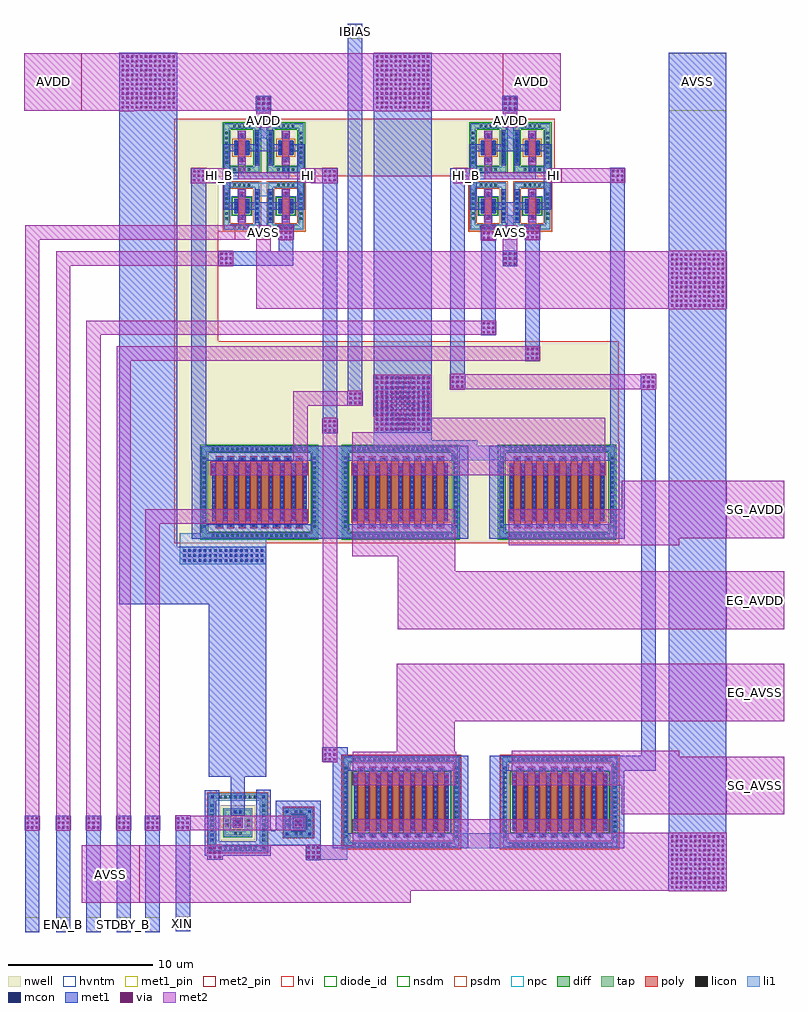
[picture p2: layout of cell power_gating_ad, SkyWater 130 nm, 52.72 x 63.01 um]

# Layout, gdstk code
import gdstk
lib = gdstk.Library(unit=1e-6, precision=1e-09)
def R(c, l, rs):  # rectangles x0, y0, x1, y1
    for r in rs: c.add(gdstk.rectangle(r[:2], r[2:], *l))
def A(c, l, x, y, w, h, nx, ny, dx, dy):  # array of equal rectangles
    R(c, l, [(x+i*dx, y+j*dy, x+i*dx+w, y+j*dy+h) for i in range(nx) for j in range(ny)])
nwell = (64, 20)
diff = (65, 20)
tap = (65, 44)
poly = (66, 20)
licon = (66, 44)
li1 = (67, 20)
mcon = (67, 44)
met1_pin = (68, 16)
met1 = (68, 20)
via = (68, 44)
met2_pin = (69, 16)
met2 = (69, 20)
hvi = (75, 20)
diode_id = (81, 23)
nsdm = (93, 44)
psdm = (94, 20)
npc = (95, 20)
hvntm = (125, 20)

power_gating_ad = lib.new_cell('power_gating_ad')
R(power_gating_ad, nwell, [(5.65,-36.95,8.08,-34.52), (2.45,-16.35,33.31,-9.3), (4.05,-16.3,12.66,-9.33), (13.85,-16.3,22.46,-9.33), (24.7,-16.3,33.31,-9.33), (2.45,-9.3,33.3,-2.35), (2.45,-2.35,5.5,9.08), (2.45,9.08,5.75,9.15), (5.6,9.1,8.68,13.07), (8.65,9.1,11.73,13.07), (11.7,9.1,22.7,13.05), (22.7,9.1,25.78,13.07), (25.75,9.1,28.83,13.07), (28.8,9.1,28.85,13.05), (2.45,9.15,5.6,13.05), (2.45,13.05,28.85,13.1)])
R(power_gating_ad, diff, [(14.9,-36.31,21.51,-32.31), (25.9,-36.31,32.51,-32.31), (6.64,-35.96,7.09,-35.51), (10.835,-35.96,11.285,-35.51), (5.05,-14.815,11.66,-10.815), (14.85,-14.815,21.46,-10.815), (25.7,-14.815,32.31,-10.815), (6.6,6.54,7.68,7.54), (9.65,6.54,10.73,7.54), (23.7,6.54,24.78,7.54), (26.75,6.54,27.83,7.54), (6.6,10.585,7.68,11.585), (9.65,10.585,10.73,11.585), (23.7,10.585,24.78,11.585), (26.75,10.585,27.83,11.585)])
R(power_gating_ad, tap, [(4.93,-37.67,8.8,-37.38), (14.23,-37.42,22.18,-37.13), (25.23,-37.42,33.18,-37.13), (4.93,-37.38,5.22,-34.09), (8.51,-37.38,8.8,-34.09), (14.23,-37.13,14.52,-31.49), (21.89,-37.13,22.18,-31.49), (25.23,-37.13,25.52,-31.49), (32.89,-37.13,33.18,-31.49), (10.155,-36.64,11.965,-36.35), (5.98,-36.62,7.75,-36.33), (10.155,-36.35,10.445,-35.12), (11.675,-36.35,11.965,-35.12), (5.98,-36.33,6.27,-35.14), (7.46,-36.33,7.75,-35.14), (5.98,-35.14,7.75,-34.85), (10.155,-35.12,11.965,-34.83), (4.93,-34.09,8.8,-33.8), (14.23,-31.49,22.18,-31.2), (25.23,-31.49,33.18,-31.2), (4.38,-15.97,12.33,-15.68), (14.18,-15.97,22.13,-15.68), (25.03,-15.97,32.98,-15.68), (4.38,-15.68,4.67,-9.95), (12.04,-15.68,12.33,-9.95), (14.18,-15.68,14.47,-9.95), (21.84,-15.68,22.13,-9.95), (25.03,-15.68,25.32,-9.95), (32.69,-15.68,32.98,-9.95), (4.38,-9.95,12.33,-9.66), (14.18,-9.95,22.13,-9.66), (25.03,-9.95,32.98,-9.66), (5.93,5.43,8.35,5.72), (8.98,5.43,11.4,5.72), (23.03,5.43,25.45,5.72), (26.08,5.43,28.5,5.72), (5.93,5.72,6.22,8.36), (8.06,5.72,8.35,8.36), (8.98,5.72,9.27,8.36), (11.11,5.72,11.4,8.36), (23.03,5.72,23.32,8.36), (25.16,5.72,25.45,8.36), (26.08,5.72,26.37,8.36), (28.21,5.72,28.5,8.36), (5.93,8.36,8.35,8.65), (8.98,8.36,11.4,8.65), (23.03,8.36,25.45,8.65), (26.08,8.36,28.5,8.65), (5.93,9.43,8.35,9.72), (8.98,9.43,11.4,9.72), (23.03,9.43,25.45,9.72), (26.08,9.43,28.5,9.72), (5.93,9.72,6.22,12.45), (8.06,9.72,8.35,12.45), (8.98,9.72,9.27,12.45), (11.11,9.72,11.4,12.45), (23.03,9.72,23.32,12.45), (25.16,9.72,25.45,12.45), (26.08,9.72,26.37,12.45), (28.21,9.72,28.5,12.45), (5.93,12.45,8.35,12.74), (8.98,12.45,11.4,12.74), (23.03,12.45,25.45,12.74), (26.08,12.45,28.5,12.74)])
A(power_gating_ad, poly, 15.19, -36.75, 0.5, 4.88, 8, 1, 0.79, 0)
A(power_gating_ad, poly, 26.19, -36.75, 0.5, 4.88, 8, 1, 0.79, 0)
A(power_gating_ad, poly, 5.34, -15.3, 0.5, 4.97, 8, 1, 0.79, 0)
A(power_gating_ad, poly, 15.14, -15.3, 0.5, 4.97, 8, 1, 0.79, 0)
A(power_gating_ad, poly, 25.99, -15.3, 0.5, 4.97, 8, 1, 0.79, 0)
R(power_gating_ad, poly, [(6.89,6.1,7.39,7.98), (9.94,6.1,10.44,7.98), (23.99,6.1,24.49,7.98), (27.04,6.1,27.54,7.98), (6.89,10.1,7.39,12.07), (9.94,10.1,10.44,12.07), (23.99,10.1,24.49,12.07), (27.04,10.1,27.54,12.07)])
A(power_gating_ad, licon, 5.59, -37.61, 0.17, 0.17, 8, 2, 0.34, 3.58)
A(power_gating_ad, licon, 14.89, -37.36, 0.17, 0.17, 20, 2, 0.34, 5.93)
A(power_gating_ad, licon, 25.89, -37.36, 0.17, 0.17, 20, 2, 0.34, 5.93)
A(power_gating_ad, licon, 4.99, -37.01, 0.17, 0.17, 1, 8, 0, 0.34)
A(power_gating_ad, licon, 8.57, -37.01, 0.17, 0.17, 1, 8, 0, 0.34)
A(power_gating_ad, licon, 14.29, -36.775, 0.17, 0.17, 1, 15, 0, 0.34)
A(power_gating_ad, licon, 21.95, -36.775, 0.17, 0.17, 1, 15, 0, 0.34)
A(power_gating_ad, licon, 25.29, -36.775, 0.17, 0.17, 1, 15, 0, 0.34)
A(power_gating_ad, licon, 32.95, -36.775, 0.17, 0.17, 1, 15, 0, 0.34)
A(power_gating_ad, licon, 15.355, -36.67, 0.17, 0.17, 8, 2, 0.79, 4.55)
A(power_gating_ad, licon, 26.355, -36.67, 0.17, 0.17, 8, 2, 0.79, 4.55)
A(power_gating_ad, licon, 14.96, -36.095, 0.17, 0.17, 9, 11, 0.79, 0.34)
A(power_gating_ad, licon, 25.96, -36.095, 0.17, 0.17, 9, 11, 0.79, 0.34)
A(power_gating_ad, licon, 5.04, -15.91, 0.17, 0.17, 20, 2, 0.34, 6.02)
A(power_gating_ad, licon, 14.84, -15.91, 0.17, 0.17, 20, 2, 0.34, 6.02)
A(power_gating_ad, licon, 25.69, -15.91, 0.17, 0.17, 20, 2, 0.34, 6.02)
A(power_gating_ad, licon, 4.44, -15.28, 0.17, 0.17, 1, 15, 0, 0.34)
A(power_gating_ad, licon, 12.1, -15.28, 0.17, 0.17, 1, 15, 0, 0.34)
A(power_gating_ad, licon, 14.24, -15.28, 0.17, 0.17, 1, 15, 0, 0.34)
A(power_gating_ad, licon, 21.9, -15.28, 0.17, 0.17, 1, 15, 0, 0.34)
A(power_gating_ad, licon, 25.09, -15.28, 0.17, 0.17, 1, 15, 0, 0.34)
A(power_gating_ad, licon, 32.75, -15.28, 0.17, 0.17, 1, 15, 0, 0.34)
A(power_gating_ad, licon, 5.505, -15.22, 0.17, 0.17, 8, 2, 0.79, 4.64)
A(power_gating_ad, licon, 15.305, -15.22, 0.17, 0.17, 8, 2, 0.79, 4.64)
A(power_gating_ad, licon, 26.155, -15.22, 0.17, 0.17, 8, 2, 0.79, 4.64)
A(power_gating_ad, licon, 5.11, -14.6, 0.17, 0.17, 9, 11, 0.79, 0.34)
A(power_gating_ad, licon, 14.91, -14.6, 0.17, 0.17, 9, 11, 0.79, 0.34)
A(power_gating_ad, licon, 25.76, -14.6, 0.17, 0.17, 9, 11, 0.79, 0.34)
A(power_gating_ad, licon, 6.545, 5.49, 0.17, 0.17, 4, 2, 0.34, 2.93)
A(power_gating_ad, licon, 9.595, 5.49, 0.17, 0.17, 4, 2, 0.34, 2.93)
A(power_gating_ad, licon, 23.645, 5.49, 0.17, 0.17, 4, 2, 0.34, 2.93)
A(power_gating_ad, licon, 26.695, 5.49, 0.17, 0.17, 4, 2, 0.34, 2.93)
A(power_gating_ad, licon, 5.99, 6.105, 0.17, 0.17, 1, 6, 0, 0.34)
A(power_gating_ad, licon, 8.12, 6.105, 0.17, 0.17, 1, 6, 0, 0.34)
A(power_gating_ad, licon, 9.04, 6.105, 0.17, 0.17, 1, 6, 0, 0.34)
A(power_gating_ad, licon, 11.17, 6.105, 0.17, 0.17, 1, 6, 0, 0.34)
A(power_gating_ad, licon, 23.09, 6.105, 0.17, 0.17, 1, 6, 0, 0.34)
A(power_gating_ad, licon, 25.22, 6.105, 0.17, 0.17, 1, 6, 0, 0.34)
A(power_gating_ad, licon, 26.14, 6.105, 0.17, 0.17, 1, 6, 0, 0.34)
A(power_gating_ad, licon, 28.27, 6.105, 0.17, 0.17, 1, 6, 0, 0.34)
A(power_gating_ad, licon, 6.66, 6.615, 0.17, 0.17, 1, 3, 0, 0.34)
A(power_gating_ad, licon, 7.45, 6.615, 0.17, 0.17, 1, 3, 0, 0.34)
A(power_gating_ad, licon, 9.71, 6.615, 0.17, 0.17, 1, 3, 0, 0.34)
A(power_gating_ad, licon, 10.5, 6.615, 0.17, 0.17, 1, 3, 0, 0.34)
A(power_gating_ad, licon, 23.76, 6.615, 0.17, 0.17, 1, 3, 0, 0.34)
A(power_gating_ad, licon, 24.55, 6.615, 0.17, 0.17, 1, 3, 0, 0.34)
A(power_gating_ad, licon, 26.81, 6.615, 0.17, 0.17, 1, 3, 0, 0.34)
A(power_gating_ad, licon, 27.6, 6.615, 0.17, 0.17, 1, 3, 0, 0.34)
A(power_gating_ad, licon, 6.545, 9.49, 0.17, 0.17, 4, 2, 0.34, 3.02)
A(power_gating_ad, licon, 9.595, 9.49, 0.17, 0.17, 4, 2, 0.34, 3.02)
A(power_gating_ad, licon, 23.645, 9.49, 0.17, 0.17, 4, 2, 0.34, 3.02)
A(power_gating_ad, licon, 26.695, 9.49, 0.17, 0.17, 4, 2, 0.34, 3.02)
A(power_gating_ad, licon, 5.99, 9.98, 0.17, 0.17, 1, 7, 0, 0.34)
A(power_gating_ad, licon, 8.12, 9.98, 0.17, 0.17, 1, 7, 0, 0.34)
A(power_gating_ad, licon, 9.04, 9.98, 0.17, 0.17, 1, 7, 0, 0.34)
A(power_gating_ad, licon, 11.17, 9.98, 0.17, 0.17, 1, 7, 0, 0.34)
A(power_gating_ad, licon, 23.09, 9.98, 0.17, 0.17, 1, 7, 0, 0.34)
A(power_gating_ad, licon, 25.22, 9.98, 0.17, 0.17, 1, 7, 0, 0.34)
A(power_gating_ad, licon, 26.14, 9.98, 0.17, 0.17, 1, 7, 0, 0.34)
A(power_gating_ad, licon, 28.27, 9.98, 0.17, 0.17, 1, 7, 0, 0.34)
A(power_gating_ad, licon, 6.66, 10.66, 0.17, 0.17, 1, 3, 0, 0.34)
A(power_gating_ad, licon, 7.45, 10.66, 0.17, 0.17, 1, 3, 0, 0.34)
A(power_gating_ad, licon, 9.71, 10.66, 0.17, 0.17, 1, 3, 0, 0.34)
A(power_gating_ad, licon, 10.5, 10.66, 0.17, 0.17, 1, 3, 0, 0.34)
A(power_gating_ad, licon, 23.76, 10.66, 0.17, 0.17, 1, 3, 0, 0.34)
A(power_gating_ad, licon, 24.55, 10.66, 0.17, 0.17, 1, 3, 0, 0.34)
A(power_gating_ad, licon, 26.81, 10.66, 0.17, 0.17, 1, 3, 0, 0.34)
A(power_gating_ad, licon, 27.6, 10.66, 0.17, 0.17, 1, 3, 0, 0.34)
R(power_gating_ad, licon, [(10.805,-36.58,10.975,-36.41), (11.145,-36.58,11.315,-36.41), (6.61,-36.56,6.78,-36.39), (6.95,-36.56,7.12,-36.39), (6.04,-35.99,6.21,-35.82), (7.52,-35.99,7.69,-35.82), (10.215,-35.99,10.385,-35.82), (11.735,-35.99,11.905,-35.82), (6.78,-35.82,6.95,-35.65), (10.975,-35.82,11.145,-35.65), (6.04,-35.65,6.21,-35.48), (7.52,-35.65,7.69,-35.48), (10.215,-35.65,10.385,-35.48), (11.735,-35.65,11.905,-35.48), (6.61,-35.08,6.78,-34.91), (6.95,-35.08,7.12,-34.91), (10.805,-35.06,10.975,-34.89), (11.145,-35.06,11.315,-34.89), (7.055,6.18,7.225,6.35), (10.105,6.18,10.275,6.35), (24.155,6.18,24.325,6.35), (27.205,6.18,27.375,6.35), (7.055,7.73,7.225,7.9), (10.105,7.73,10.275,7.9), (24.155,7.73,24.325,7.9), (27.205,7.73,27.375,7.9), (7.055,10.18,7.225,10.35), (10.105,10.18,10.275,10.35), (24.155,10.18,24.325,10.35), (27.205,10.18,27.375,10.35), (7.055,11.82,7.225,11.99), (10.105,11.82,10.275,11.99), (24.155,11.82,24.325,11.99), (27.205,11.82,27.375,11.99)])
A(power_gating_ad, li1, 15.19, -36.67, 0.5, 0.17, 8, 2, 0.79, 4.55)
A(power_gating_ad, li1, 26.19, -36.67, 0.5, 0.17, 8, 2, 0.79, 4.55)
A(power_gating_ad, li1, 14.96, -36.33, 0.17, 4.04, 9, 1, 0.79, 0)
A(power_gating_ad, li1, 25.96, -36.33, 0.17, 4.04, 9, 1, 0.79, 0)
A(power_gating_ad, li1, 5.34, -15.22, 0.5, 0.17, 8, 2, 0.79, 4.64)
A(power_gating_ad, li1, 15.14, -15.22, 0.5, 0.17, 8, 2, 0.79, 4.64)
A(power_gating_ad, li1, 25.99, -15.22, 0.5, 0.17, 8, 2, 0.79, 4.64)
A(power_gating_ad, li1, 5.11, -14.835, 0.17, 4.04, 9, 1, 0.79, 0)
A(power_gating_ad, li1, 14.91, -14.835, 0.17, 4.04, 9, 1, 0.79, 0)
A(power_gating_ad, li1, 25.76, -14.835, 0.17, 4.04, 9, 1, 0.79, 0)
R(power_gating_ad, li1, [(11.6,-38.3,14.45,-37.46), (4.825,-37.775,8.905,-37.25), (4.99,-37.61,8.74,-37.44), (21.96,-37.5,25.46,-37.46), (11.6,-37.46,33.19,-37.43), (4.99,-37.44,5.16,-34.03), (8.57,-37.44,8.74,-34.03), (11.6,-37.43,33.22,-37.3), (14.29,-37.36,22.12,-37.19), (25.29,-37.36,33.12,-37.19), (14.19,-37.3,33.22,-37.09), (4.825,-37.25,5.35,-34.2), (8.4,-37.25,8.905,-34.2), (14.29,-37.19,14.46,-31.43), (21.95,-37.19,22.12,-31.43), (25.29,-37.19,25.46,-31.43), (32.95,-37.19,33.12,-31.43), (14.19,-37.09,14.56,-31.53), (21.85,-37.09,25.56,-36.475), (32.85,-37.09,33.22,-31.53), (10.05,-36.745,12.07,-36.245), (5.875,-36.725,7.855,-36.225), (10.215,-36.58,11.905,-36.41), (6.04,-36.56,7.69,-36.39), (21.85,-36.475,22.22,-31.53), (25.19,-36.475,25.56,-31.53), (10.215,-36.41,10.385,-35.06), (11.735,-36.41,11.905,-35.06), (6.04,-36.39,6.21,-35.08), (7.52,-36.39,7.69,-35.08), (10.05,-36.245,10.56,-35.225), (11.57,-36.245,12.07,-35.225), (5.875,-36.225,6.375,-35.245), (7.355,-36.225,7.855,-35.245), (6.62,-35.9,7.11,-35.57), (10.815,-35.9,11.305,-35.57), (5.875,-35.245,7.855,-34.745), (10.05,-35.225,12.07,-34.725), (6.04,-35.08,7.69,-34.91), (10.215,-35.06,11.905,-34.89), (4.825,-34.2,8.905,-33.695), (4.99,-34.03,8.74,-33.86), (14.19,-31.53,22.22,-31.19), (25.19,-31.53,33.22,-31.19), (14.29,-31.43,22.12,-31.26), (25.29,-31.43,33.12,-31.26), (14.22,-31.19,22.19,-31.16), (25.22,-31.19,33.19,-31.16), (2.85,-17.8,8.85,-16.01), (2.85,-16.01,12.34,-16), (14.17,-16.01,22.14,-16), (25.02,-16.01,32.99,-15.98), (2.85,-16,22.14,-15.98), (2.85,-15.98,22.17,-15.65), (24.99,-15.98,33.02,-15.64), (4.44,-15.91,12.27,-15.74), (14.24,-15.91,22.07,-15.74), (25.09,-15.91,32.92,-15.74), (4.44,-15.74,4.61,-9.89), (12.1,-15.74,12.27,-9.89), (14.24,-15.74,14.41,-9.89), (21.9,-15.74,22.07,-9.89), (25.09,-15.74,25.26,-9.89), (32.75,-15.74,32.92,-9.89), (4.34,-15.65,22.17,-15.64), (4.34,-15.64,4.71,-9.99), (12,-15.64,14.51,-9.99), (21.8,-15.64,22.17,-10.6), (24.99,-15.64,25.36,-10.6), (32.65,-15.64,33.02,-9.99), (21.8,-10.6,25.36,-9.99), (4.34,-9.99,33.02,-9.65), (4.44,-9.89,12.27,-9.72), (14.24,-9.89,22.07,-9.72), (25.09,-9.89,32.92,-9.72), (4.37,-9.65,32.99,-9.62), (12.05,-9.62,14.41,-9.6), (15.8,-9.62,25.2,-9.6), (16.3,-9.6,23.46,-9.2), (16.3,-9.2,20.3,-8.4), (16.3,-8.4,20.27,-7.65), (16.33,-7.65,20.27,-4.68), (25.25,2.9,26.25,5.39), (5.92,5.39,8.36,5.42), (5.92,5.39,8.36,5.42), (8.97,5.39,11.41,5.42), (8.97,5.39,11.41,5.42), (23.02,5.39,25.46,5.42), (23.02,5.39,28.51,5.42), (26.07,5.39,28.51,5.42), (5.89,5.42,8.39,5.76), (5.89,5.42,8.39,5.76), (8.94,5.42,11.44,5.76), (8.94,5.42,11.44,5.76), (22.99,5.42,28.54,5.76), (22.99,5.42,25.49,5.76), (26.04,5.42,28.54,5.76), (5.99,5.49,8.29,5.66), (9.04,5.49,11.34,5.66), (23.09,5.49,25.39,5.66), (26.14,5.49,28.44,5.66), (5.99,5.66,6.16,8.42), (8.12,5.66,8.29,8.42), (9.04,5.66,9.21,8.42), (11.17,5.66,11.34,8.42), (23.09,5.66,23.26,8.42), (25.22,5.66,25.39,8.42), (26.14,5.66,26.31,8.42), (28.27,5.66,28.44,8.42), (5.89,5.76,6.26,8.32), (5.89,5.76,6.26,8.32), (8.02,5.76,8.39,8.32), (8.02,5.76,8.39,7.73), (8.94,5.76,9.31,8.32), (8.94,5.76,9.31,7.73), (11.07,5.76,11.44,8.32), (11.07,5.76,11.44,8.32), (22.99,5.76,23.36,8.32), (22.99,5.76,23.36,8.32), (25.12,5.76,25.49,8.32), (25.12,5.76,26.41,6.4), (26.04,5.76,26.41,8.32), (28.17,5.76,28.54,8.32), (28.17,5.76,28.54,8.32), (6.89,6.18,7.39,6.35), (9.94,6.18,10.44,6.35), (23.99,6.18,24.49,6.35), (27.04,6.18,27.54,6.35), (25.12,6.4,25.49,8.32), (26.04,6.4,26.41,8.32), (6.66,6.52,6.83,7.56), (7.45,6.52,7.62,7.56), (9.71,6.52,9.88,7.56), (10.5,6.52,10.67,7.56), (23.76,6.52,23.93,7.56), (24.55,6.52,24.72,7.56), (26.81,6.52,26.98,7.56), (27.6,6.52,27.77,7.56), (6.89,7.73,7.39,7.9), (8.02,7.73,9.31,8.32), (9.94,7.73,10.44,7.9), (23.99,7.73,24.49,7.9), (27.04,7.73,27.54,7.9), (5.89,8.32,11.44,8.66), (5.89,8.32,8.39,8.66), (8.94,8.32,11.44,8.66), (22.99,8.32,25.49,8.66), (22.99,8.32,25.49,8.66), (26.04,8.32,28.54,8.66), (26.04,8.32,28.54,8.66), (5.99,8.42,8.29,8.59), (9.04,8.42,11.34,8.59), (23.09,8.42,25.39,8.59), (26.14,8.42,28.44,8.59), (5.92,8.66,8.36,8.69), (5.92,8.66,11.41,8.67), (8.97,8.66,11.41,8.69), (23.02,8.66,25.46,8.69), (23.02,8.66,25.46,8.69), (26.07,8.66,28.51,8.69), (26.07,8.66,28.51,8.69), (5.92,8.67,8.36,8.69), (8.97,8.67,11.41,8.69), (5.92,9.39,8.36,9.42), (5.92,9.39,8.36,9.42), (8.97,9.39,11.41,9.42), (8.97,9.39,11.41,9.42), (23.02,9.39,25.46,9.42), (23.02,9.39,25.46,9.42), (26.07,9.39,28.51,9.42), (26.07,9.39,28.51,9.42), (5.89,9.42,8.39,9.76), (5.89,9.42,8.39,9.76), (8.94,9.42,11.44,9.76), (8.94,9.42,11.44,9.76), (22.99,9.42,25.49,9.76), (22.99,9.42,25.49,9.76), (26.04,9.42,28.54,9.76), (26.04,9.42,28.54,9.76), (5.99,9.49,8.29,9.66), (9.04,9.49,11.34,9.66), (23.09,9.49,25.39,9.66), (26.14,9.49,28.44,9.66), (5.99,9.66,6.16,12.51), (8.12,9.66,8.29,12.51), (9.04,9.66,9.21,12.51), (11.17,9.66,11.34,12.51), (23.09,9.66,23.26,12.51), (25.22,9.66,25.39,12.51), (26.14,9.66,26.31,12.51), (28.27,9.66,28.44,12.51), (5.89,9.76,6.26,12.41), (5.89,9.76,6.26,12.41), (8.02,9.76,8.39,11.75), (8.02,9.76,8.39,12.41), (8.94,9.76,9.31,11.75), (8.94,9.76,9.31,12.41), (11.07,9.76,11.44,12.41), (11.07,9.76,11.44,12.41), (22.99,9.76,23.36,12.41), (22.99,9.76,23.36,12.41), (25.12,9.76,25.49,11.75), (25.12,9.76,25.49,12.41), (26.04,9.76,26.41,11.75), (26.04,9.76,26.41,12.41), (28.17,9.76,28.54,12.41), (28.17,9.76,28.54,12.41), (6.89,10.18,7.39,10.35), (9.94,10.18,10.44,10.35), (23.99,10.18,24.49,10.35), (27.04,10.18,27.54,10.35), (6.66,10.565,6.83,11.605), (7.45,10.565,7.62,11.605), (9.71,10.565,9.88,11.605), (10.5,10.565,10.67,11.605), (23.76,10.565,23.93,11.605), (24.55,10.565,24.72,11.605), (26.81,10.565,26.98,11.605), (27.6,10.565,27.77,11.605), (8.02,11.75,9.31,12.41), (25.12,11.75,26.41,12.41), (6.89,11.82,7.39,11.99), (9.94,11.82,10.44,11.99), (23.99,11.82,24.49,11.99), (27.04,11.82,27.54,11.99), (5.89,12.41,11.44,12.75), (5.89,12.41,8.39,12.75), (8.94,12.41,11.44,12.75), (22.99,12.41,28.54,12.75), (22.99,12.41,25.49,12.75), (26.04,12.41,28.54,12.75), (5.99,12.51,8.29,12.68), (9.04,12.51,11.34,12.68), (23.09,12.51,25.39,12.68), (26.14,12.51,28.44,12.68), (5.92,12.75,8.36,12.78), (5.92,12.75,11.41,12.78), (8.97,12.75,11.41,12.78), (23.02,12.75,25.46,12.78), (23.02,12.75,28.51,12.78), (26.07,12.75,28.51,12.78), (8.15,12.78,9.15,14.65), (25.25,12.78,26.25,14.65)])
A(power_gating_ad, mcon, 11.655, -38.245, 0.17, 0.17, 3, 3, 0.36, 0.36)
A(power_gating_ad, mcon, 15.355, -36.67, 0.17, 0.17, 8, 2, 0.79, 4.55)
A(power_gating_ad, mcon, 26.355, -36.67, 0.17, 0.17, 8, 2, 0.79, 4.55)
A(power_gating_ad, mcon, 14.96, -36.195, 0.17, 0.17, 9, 11, 0.79, 0.36)
A(power_gating_ad, mcon, 25.96, -36.195, 0.17, 0.17, 9, 11, 0.79, 0.36)
A(power_gating_ad, mcon, 3.065, -17.645, 0.17, 0.17, 16, 3, 0.36, 0.36)
A(power_gating_ad, mcon, 5.505, -15.22, 0.17, 0.17, 8, 2, 0.79, 4.64)
A(power_gating_ad, mcon, 15.305, -15.22, 0.17, 0.17, 8, 2, 0.79, 4.64)
A(power_gating_ad, mcon, 26.155, -15.22, 0.17, 0.17, 8, 2, 0.79, 4.64)
A(power_gating_ad, mcon, 5.11, -14.7, 0.17, 0.17, 9, 11, 0.79, 0.36)
A(power_gating_ad, mcon, 14.91, -14.7, 0.17, 0.17, 9, 11, 0.79, 0.36)
A(power_gating_ad, mcon, 25.76, -14.7, 0.17, 0.17, 9, 11, 0.79, 0.36)
A(power_gating_ad, mcon, 16.415, -8.535, 0.17, 0.17, 11, 11, 0.36, 0.36)
A(power_gating_ad, mcon, 25.305, 2.955, 0.17, 0.17, 3, 3, 0.36, 0.36)
A(power_gating_ad, mcon, 8.12, 6.055, 0.17, 0.17, 1, 6, 0, 0.36)
A(power_gating_ad, mcon, 9.04, 6.055, 0.17, 0.17, 1, 6, 0, 0.36)
A(power_gating_ad, mcon, 25.22, 6.055, 0.17, 0.17, 1, 6, 0, 0.36)
A(power_gating_ad, mcon, 26.14, 6.055, 0.17, 0.17, 1, 6, 0, 0.36)
A(power_gating_ad, mcon, 8.12, 10.1, 0.17, 0.17, 1, 6, 0, 0.36)
A(power_gating_ad, mcon, 9.04, 10.1, 0.17, 0.17, 1, 6, 0, 0.36)
A(power_gating_ad, mcon, 25.22, 10.1, 0.17, 0.17, 1, 6, 0, 0.36)
A(power_gating_ad, mcon, 26.14, 10.1, 0.17, 0.17, 1, 6, 0, 0.36)
A(power_gating_ad, mcon, 8.205, 13.705, 0.17, 0.17, 3, 3, 0.36, 0.36)
A(power_gating_ad, mcon, 25.305, 13.705, 0.17, 0.17, 3, 3, 0.36, 0.36)
R(power_gating_ad, mcon, [(5.015,-37.585,5.185,-37.415), (8.565,-37.585,8.735,-37.415), (10.19,-36.61,10.36,-36.44), (11.74,-36.61,11.91,-36.44), (6.78,-35.82,6.95,-35.65), (10.975,-35.82,11.145,-35.65), (6.585,-35.06,6.755,-34.89), (6.945,-35.06,7.115,-34.89), (10.19,-35.06,10.36,-34.89), (11.74,-35.06,11.91,-34.89), (5.015,-34.035,5.185,-33.865), (8.565,-34.035,8.735,-33.865), (7.055,6.18,7.225,6.35), (10.105,6.18,10.275,6.35), (24.155,6.18,24.325,6.35), (27.205,6.18,27.375,6.35), (6.66,6.775,6.83,6.945), (7.45,6.775,7.62,6.945), (9.71,6.775,9.88,6.945), (10.5,6.775,10.67,6.945), (23.76,6.775,23.93,6.945), (24.55,6.775,24.72,6.945), (26.81,6.775,26.98,6.945), (27.6,6.775,27.77,6.945), (6.66,7.135,6.83,7.305), (7.45,7.135,7.62,7.305), (9.71,7.135,9.88,7.305), (10.5,7.135,10.67,7.305), (23.76,7.135,23.93,7.305), (24.55,7.135,24.72,7.305), (26.81,7.135,26.98,7.305), (27.6,7.135,27.77,7.305), (7.055,7.73,7.225,7.9), (10.105,7.73,10.275,7.9), (24.155,7.73,24.325,7.9), (27.205,7.73,27.375,7.9), (7.055,10.18,7.225,10.35), (10.105,10.18,10.275,10.35), (24.155,10.18,24.325,10.35), (27.205,10.18,27.375,10.35), (6.66,10.82,6.83,10.99), (7.45,10.82,7.62,10.99), (9.71,10.82,9.88,10.99), (10.5,10.82,10.67,10.99), (23.76,10.82,23.93,10.99), (24.55,10.82,24.72,10.99), (26.81,10.82,26.98,10.99), (27.6,10.82,27.77,10.99), (6.66,11.18,6.83,11.35), (7.45,11.18,7.62,11.35), (9.71,11.18,9.88,11.35), (10.5,11.18,10.67,11.35), (23.76,11.18,23.93,11.35), (24.55,11.18,24.72,11.35), (26.81,11.18,26.98,11.35), (27.6,11.18,27.77,11.35), (7.055,11.82,7.225,11.99), (10.105,11.82,10.275,11.99), (24.155,11.82,24.325,11.99), (27.205,11.82,27.375,11.99)])
A(power_gating_ad, met1_pin, -5.75, -43.3, 1, 1, 3, 1, 2.1, 0)
R(power_gating_ad, met1_pin, [(-7.9,-43.3,-6.9,-42.3), (0.45,-43.3,1.45,-42.3), (2.55,-43.25,3.55,-42.25), (36.75,13.65,40.75,17.65), (14.5,18.65,15.5,19.65)])
A(power_gating_ad, met1, -5.75, -43.33, 1, 7.08, 3, 1, 2.1, 0)
A(power_gating_ad, met1, 15.21, -36.7, 0.46, 0.23, 8, 2, 0.79, 4.55)
A(power_gating_ad, met1, 26.21, -36.7, 0.46, 0.23, 8, 2, 0.79, 4.55)
A(power_gating_ad, met1, 14.93, -36.31, 0.23, 4, 9, 1, 0.79, 0)
A(power_gating_ad, met1, 25.93, -36.31, 0.23, 4, 9, 1, 0.79, 0)
A(power_gating_ad, met1, 15.7, -36.3, 0.27, 0.82, 4, 1, 1.58, 0)
A(power_gating_ad, met1, 26.7, -36.3, 0.27, 0.82, 4, 1, 1.58, 0)
A(power_gating_ad, met1, -5.78, -36.25, 1.06, 1, 3, 1, 2.1, 0)
A(power_gating_ad, met1, 14.91, -33.14, 0.27, 0.82, 5, 1, 1.58, 0)
A(power_gating_ad, met1, 25.91, -33.14, 0.27, 0.82, 5, 1, 1.58, 0)
A(power_gating_ad, met1, 5.36, -15.25, 0.46, 0.23, 8, 2, 0.79, 4.64)
A(power_gating_ad, met1, 15.16, -15.25, 0.46, 0.23, 8, 2, 0.79, 4.64)
A(power_gating_ad, met1, 26.01, -15.25, 0.46, 0.23, 8, 2, 0.79, 4.64)
A(power_gating_ad, met1, 5.08, -14.815, 0.23, 4, 9, 1, 0.79, 0)
A(power_gating_ad, met1, 14.88, -14.815, 0.23, 4, 9, 1, 0.79, 0)
A(power_gating_ad, met1, 25.73, -14.815, 0.23, 4, 9, 1, 0.79, 0)
A(power_gating_ad, met1, 5.85, -14.805, 0.27, 0.82, 4, 1, 1.58, 0)
A(power_gating_ad, met1, 15.65, -14.805, 0.27, 0.82, 4, 1, 1.58, 0)
A(power_gating_ad, met1, 26.5, -14.805, 0.27, 0.82, 4, 1, 1.58, 0)
A(power_gating_ad, met1, 5.06, -11.645, 0.27, 0.82, 5, 1, 1.58, 0)
A(power_gating_ad, met1, 14.86, -11.645, 0.27, 0.82, 5, 1, 1.58, 0)
A(power_gating_ad, met1, 25.71, -11.645, 0.27, 0.82, 5, 1, 1.58, 0)
R(power_gating_ad, met1, [(-7.9,-43.33,-6.9,-36.25), (0.45,-43.33,1.45,-36.25), (2.55,-43.28,3.55,-36.25), (36.75,-40.48,40.75,-40.45), (36.72,-40.45,40.78,-36.45), (11.6,-38.33,12.6,-38.3), (4.74,-38.3,5.8,-38.025), (11.57,-38.3,12.63,-37.3), (4.575,-38.025,9.155,-37.3), (13.45,-37.5,22.86,-36.475), (24.35,-37.5,33.66,-36.475), (4.575,-37.3,12.6,-37.025), (4.575,-37.025,5.575,-33.5), (8.155,-37.025,12.6,-36.3), (13.45,-36.475,14.45,-32.125), (21.86,-36.475,22.86,-32.125), (24.35,-36.475,25.35,-32.125), (32.66,-36.475,33.66,-32.125), (36.75,-36.45,40.75,-0.1), (8.155,-36.3,9.155,-33.45), (9.5,-36.3,10.5,-35.2), (11.6,-36.3,12.6,-35.2), (-7.93,-36.25,-6.87,-35.25), (0.42,-36.25,1.48,-35.25), (2.55,-36.25,3.58,-35.25), (6.5,-36.1,7.2,-35.4), (10.7,-36.1,11.4,-35.4), (6.64,-35.93,7.09,-35.54), (10.835,-35.93,11.285,-35.54), (2.55,-35.25,3.55,-35.22), (6.355,-35.25,7.355,-32.55), (9.5,-35.2,12.6,-34.2), (4.85,-32.55,8.85,-20.6), (13.45,-32.125,22.86,-31.515), (24.35,-32.125,35.87,-31.1), (12.71,-31.515,22.86,-31.1), (12.71,-31.1,14.475,-30.49), (34.845,-31.1,35.87,-6.81), (-1.35,-20.6,8.85,-16.6), (-1.35,-16.6,2.65,13.65), (3.65,-16.05,22.86,-15.025), (24.3,-16.05,33.71,-15.025), (3.65,-15.025,4.675,-10.625), (12.035,-15.025,14.475,-10.625), (21.835,-15.025,22.86,-10.625), (24.3,-15.025,25.325,-10.625), (32.685,-15.025,33.71,-10.625), (3.65,-10.625,22.86,-10.61), (24.3,-10.625,33.71,-9.6), (3.64,-10.61,22.86,-9.6), (3.64,-9.6,4.665,8.635), (32.685,-9.6,33.71,9.51), (12.71,-8.715,13.795,-7.69), (16.3,-8.68,20.3,13.65), (12.74,-7.69,13.765,8.635), (34.835,-6.81,35.87,-5.665), (14.47,-6.8,15.53,-5.8), (14.5,-5.8,15.5,19.68), (21.56,-5.665,22.645,-4.64), (34.805,-5.665,35.89,-4.64), (21.59,-4.64,22.615,8.65), (34.845,-4.64,35.87,-4.61), (26.8,-3.73,27.8,4.7), (23.75,-1.93,24.75,4.67), (36.72,-0.1,40.78,3.9), (25.25,2.87,26.25,3.93), (5.52,2.9,10.7,3.9), (9.7,3.9,10.7,4.7), (36.75,3.9,40.75,17.68), (23.72,4.67,24.78,5.67), (9.67,4.7,10.73,5.7), (26.77,4.7,27.83,5.7), (8.4,4.92,8.9,5.87), (25.5,4.92,26,5.87), (8.02,5.87,9.31,6.79), (25.12,5.87,26.41,6.79), (6.86,5.9,7.42,6.4), (9.92,5.9,10.48,6.4), (23.96,5.9,24.52,6.4), (27.02,5.9,27.58,6.4), (6.91,6.15,7.37,6.38), (9.96,6.15,10.42,6.38), (24.01,6.15,24.47,6.38), (27.06,6.15,27.52,6.38), (6.63,6.54,6.86,7.54), (7.42,6.54,7.65,7.54), (9.68,6.54,9.91,7.54), (10.47,6.54,10.7,7.54), (23.73,6.54,23.96,7.54), (24.52,6.54,24.75,7.54), (26.78,6.54,27.01,7.54), (27.57,6.54,27.8,7.54), (5.85,6.79,6.83,7.29), (7.45,6.79,9.88,7.29), (10.47,6.79,11.5,7.29), (22.95,6.79,23.93,7.29), (24.55,6.79,26.98,7.29), (27.57,6.79,28.6,7.29), (5.85,7.29,6.35,8.9), (8.02,7.29,8.39,8.21), (8.94,7.29,9.31,8.21), (11,7.29,11.5,10.835), (22.95,7.29,23.45,8.9), (25.12,7.29,25.49,8.21), (26.04,7.29,26.41,8.21), (28.1,7.29,28.6,10.835), (6.86,7.7,7.42,8.2), (6.91,7.7,7.37,7.93), (9.91,7.7,10.47,8.2), (9.96,7.7,10.42,7.93), (23.96,7.7,24.52,8.2), (24.01,7.7,24.47,7.93), (27.01,7.7,27.57,8.2), (27.06,7.7,27.52,7.93), (3.61,8.635,4.695,9.66), (12.71,8.635,13.795,9.66), (11.5,8.65,12.2,9.65), (21.59,8.65,22.95,9.65), (5.82,8.9,10.44,9.4), (22.92,8.9,27.54,9.4), (5.85,9.4,6.35,10.835), (9.94,9.4,10.44,9.9), (22.95,9.4,23.45,10.835), (27.04,9.4,27.54,9.9), (32.71,9.51,33.71,9.68), (21.59,9.65,22.515,9.66), (8.02,9.87,8.39,10.835), (8.94,9.87,9.31,10.835), (25.12,9.87,25.49,10.835), (26.04,9.87,26.41,10.835), (6.86,9.9,7.42,10.4), (9.94,9.9,10.47,10.4), (23.96,9.9,24.52,10.4), (27.04,9.9,27.57,10.4), (6.91,10.15,7.37,10.38), (9.96,10.15,10.42,10.38), (24.01,10.15,24.47,10.38), (27.06,10.15,27.52,10.38), (9.94,10.4,10.44,10.43), (27.04,10.4,27.54,10.43), (6.63,10.585,6.86,11.585), (7.42,10.585,7.65,11.585), (9.68,10.585,9.91,11.585), (10.47,10.585,10.7,11.585), (23.73,10.585,23.96,11.585), (24.52,10.585,24.75,11.585), (26.78,10.585,27.01,11.585), (27.57,10.585,27.8,11.585), (5.85,10.835,6.83,11.335), (7.45,10.835,9.88,11.335), (10.47,10.835,11.5,11.335), (22.95,10.835,23.93,11.335), (24.55,10.835,26.98,11.335), (27.57,10.835,28.6,11.335), (8.02,11.335,9.31,12.3), (25.12,11.335,26.41,12.3), (6.86,11.75,7.42,12.25), (9.91,11.75,10.47,12.25), (23.96,11.75,24.52,12.25), (27.01,11.75,27.57,12.25), (6.91,11.79,7.37,12.02), (9.96,11.79,10.42,12.02), (24.01,11.79,24.47,12.02), (27.06,11.79,27.52,12.02), (8.4,12.3,8.9,13.28), (25.5,12.3,26,13.28), (8.15,13.62,9.15,13.65), (25.25,13.62,26.25,13.65), (-1.38,13.65,2.65,14.65), (8.12,13.65,9.18,14.65), (16.27,13.65,20.33,17.65), (25.22,13.65,26.28,14.65), (-1.35,14.65,2.65,17.68), (8.15,14.65,9.15,14.68), (25.25,14.65,26.25,14.68)])
A(power_gating_ad, via, 36.915, -40.285, 0.15, 0.15, 12, 12, 0.32, 0.32)
A(power_gating_ad, via, 4.875, -38.195, 0.15, 0.15, 3, 3, 0.32, 0.32)
A(power_gating_ad, via, 11.705, -38.195, 0.15, 0.15, 3, 3, 0.32, 0.32)
A(power_gating_ad, via, -7.795, -36.145, 0.15, 0.15, 3, 3, 0.32, 0.32)
A(power_gating_ad, via, -5.645, -36.145, 0.15, 0.15, 3, 3, 0.32, 0.32)
A(power_gating_ad, via, -3.545, -36.145, 0.15, 0.15, 3, 3, 0.32, 0.32)
A(power_gating_ad, via, -1.445, -36.145, 0.15, 0.15, 3, 3, 0.32, 0.32)
A(power_gating_ad, via, 0.555, -36.145, 0.15, 0.15, 3, 3, 0.32, 0.32)
A(power_gating_ad, via, 2.655, -36.145, 0.15, 0.15, 3, 3, 0.32, 0.32)
A(power_gating_ad, via, 15.76, -36.125, 0.15, 0.15, 4, 2, 1.58, 0.32)
A(power_gating_ad, via, 26.76, -36.125, 0.15, 0.15, 4, 2, 1.58, 0.32)
A(power_gating_ad, via, 14.97, -32.965, 0.15, 0.15, 5, 2, 1.58, 0.32)
A(power_gating_ad, via, 25.97, -32.965, 0.15, 0.15, 5, 2, 1.58, 0.32)
A(power_gating_ad, via, 12.855, -31.4, 0.15, 0.15, 3, 3, 0.32, 0.32)
A(power_gating_ad, via, 5.91, -14.63, 0.15, 0.15, 4, 2, 1.58, 0.32)
A(power_gating_ad, via, 15.71, -14.63, 0.15, 0.15, 4, 2, 1.58, 0.32)
A(power_gating_ad, via, 26.56, -14.63, 0.15, 0.15, 4, 2, 1.58, 0.32)
A(power_gating_ad, via, 5.12, -11.47, 0.15, 0.15, 5, 2, 1.58, 0.32)
A(power_gating_ad, via, 14.92, -11.47, 0.15, 0.15, 5, 2, 1.58, 0.32)
A(power_gating_ad, via, 25.77, -11.47, 0.15, 0.15, 5, 2, 1.58, 0.32)
A(power_gating_ad, via, 12.855, -8.6, 0.15, 0.15, 3, 3, 0.32, 0.32)
A(power_gating_ad, via, 16.465, -8.485, 0.15, 0.15, 12, 12, 0.32, 0.32)
A(power_gating_ad, via, 14.605, -6.695, 0.15, 0.15, 3, 3, 0.32, 0.32)
A(power_gating_ad, via, 21.705, -5.55, 0.15, 0.15, 3, 3, 0.32, 0.32)
A(power_gating_ad, via, 34.95, -5.55, 0.15, 0.15, 3, 3, 0.32, 0.32)
A(power_gating_ad, via, 26.905, -3.595, 0.15, 0.15, 3, 3, 0.32, 0.32)
A(power_gating_ad, via, 23.855, -1.795, 0.15, 0.15, 3, 3, 0.32, 0.32)
A(power_gating_ad, via, 36.915, 0.065, 0.15, 0.15, 12, 12, 0.32, 0.32)
A(power_gating_ad, via, 5.655, 3.005, 0.15, 0.15, 3, 3, 0.32, 0.32)
A(power_gating_ad, via, 25.355, 3.005, 0.15, 0.15, 3, 3, 0.32, 0.32)
A(power_gating_ad, via, 23.855, 4.775, 0.15, 0.15, 3, 3, 0.32, 0.32)
A(power_gating_ad, via, 9.805, 4.805, 0.15, 0.15, 3, 3, 0.32, 0.32)
A(power_gating_ad, via, 26.905, 4.805, 0.15, 0.15, 3, 3, 0.32, 0.32)
A(power_gating_ad, via, 3.755, 8.75, 0.15, 0.15, 3, 3, 0.32, 0.32)
A(power_gating_ad, via, 12.855, 8.75, 0.15, 0.15, 3, 3, 0.32, 0.32)
A(power_gating_ad, via, 21.905, 8.755, 0.15, 0.15, 3, 3, 0.32, 0.32)
A(power_gating_ad, via, 32.815, 8.755, 0.15, 0.15, 3, 3, 0.32, 0.32)
A(power_gating_ad, via, 8.255, 13.755, 0.15, 0.15, 3, 3, 0.32, 0.32)
A(power_gating_ad, via, 25.355, 13.755, 0.15, 0.15, 3, 3, 0.32, 0.32)
A(power_gating_ad, via, -1.185, 13.815, 0.15, 0.15, 12, 12, 0.32, 0.32)
A(power_gating_ad, via, 16.465, 13.815, 0.15, 0.15, 12, 12, 0.32, 0.32)
R(power_gating_ad, via, [(6.615,-35.985,6.765,-35.835), (6.935,-35.985,7.085,-35.835), (10.815,-35.985,10.965,-35.835), (11.135,-35.985,11.285,-35.835), (6.615,-35.665,6.765,-35.515), (6.935,-35.665,7.085,-35.515), (10.815,-35.665,10.965,-35.515), (11.135,-35.665,11.285,-35.515), (8.575,5.125,8.725,5.275), (25.675,5.125,25.825,5.275), (7.065,6.075,7.215,6.225), (10.125,6.075,10.275,6.225), (24.165,6.075,24.315,6.225), (27.225,6.075,27.375,6.225), (7.065,7.875,7.215,8.025), (10.115,7.875,10.265,8.025), (24.165,7.875,24.315,8.025), (27.215,7.875,27.365,8.025), (6.025,9.075,6.175,9.225), (11.175,9.075,11.325,9.225), (23.125,9.075,23.275,9.225), (28.275,9.075,28.425,9.225), (7.065,10.075,7.215,10.225), (10.115,10.075,10.265,10.225), (24.165,10.075,24.315,10.225), (27.215,10.075,27.365,10.225), (7.065,11.925,7.215,12.075), (10.115,11.925,10.265,12.075), (24.165,11.925,24.315,12.075), (27.215,11.925,27.365,12.075), (8.575,12.925,8.725,13.075), (25.675,12.925,25.825,13.075)])
R(power_gating_ad, met2_pin, [(-3.95,-41.3,0.05,-37.3), (40.75,-35.15,44.75,-31.15), (40.75,-28.7,44.75,-24.7), (40.75,-22.3,44.75,-18.3), (40.75,-16,44.75,-12), (6.65,4.7,7.65,5.7), (8.15,4.7,9.15,5.7), (9.7,4.7,10.7,5.7), (23.75,4.7,24.75,5.7), (25.25,4.7,26.25,5.7), (26.8,4.7,27.8,5.7), (5.1,8.65,6.1,9.65), (11.25,8.65,12.25,9.65), (22.2,8.65,23.2,9.65), (28.35,8.65,29.35,9.65), (8.15,12.5,9.15,13.5), (25.25,12.5,26.25,13.5), (-7.95,13.65,-3.95,17.65), (25.25,13.65,29.25,17.65)])
R(power_gating_ad, met2, [(-3.95,-41.3,18.85,-40.45), (36.75,-40.48,40.75,-40.45), (-3.95,-40.45,40.78,-37.3), (4.77,-37.3,5.77,-37.27), (11.6,-37.3,12.6,-37.27), (14.85,-37.3,40.78,-36.45), (14.85,-36.45,32.61,-35.5), (36.75,-36.45,40.75,-36.42), (-7.9,-36.28,-6.9,4.7), (-5.75,-36.28,-4.75,2.9), (-3.65,-36.28,-2.65,-1.9), (-1.55,-36.28,-0.55,-3.7), (0.45,-36.28,1.45,-15), (2.55,-36.28,3.55,-36.25), (2.52,-36.25,11.55,-35.25), (2.55,-35.25,3.55,-35.22), (6.355,-35.25,7.355,-35.245), (33.5,-35.15,44.75,-33.15), (14.85,-33.15,22.01,-30.8), (25.85,-33.15,44.75,-31.15), (12.74,-31.545,13.765,-7.66), (25.85,-31.15,37.5,-30.75), (17.9,-30.8,21.9,-28.7), (17.9,-28.7,44.75,-24.7), (17.95,-22.3,44.75,-18.3), (17.95,-18.3,21.96,-17.25), (14.8,-17.25,21.96,-14), (25.65,-16.5,37.5,-16), (25.65,-16,44.75,-14), (0.45,-15,11.71,-14), (33.5,-14,44.75,-12), (5,-11.65,11.71,-10.65), (14.8,-11.65,32.36,-8.65), (10.7,-10.65,11.7,-6.8), (16.3,-8.65,32.36,-7.65), (16.3,-7.65,20.33,-7.55), (16.27,-7.55,20.33,-4.65), (14.5,-6.83,15.5,-6.8), (10.7,-6.8,15.5,-5.8), (14.5,-5.8,15.5,-5.77), (21.59,-5.695,22.615,-5.665), (34.835,-5.695,35.86,-5.665), (21.59,-5.665,35.9,-4.64), (21.59,-4.64,22.615,-4.61), (34.835,-4.64,35.86,-4.61), (-1.55,-3.7,27.83,-2.7), (-3.65,-1.9,24.78,-0.9), (36.75,-0.13,40.75,-0.1), (8.15,-0.1,40.75,3.9), (5.55,2.87,6.55,2.9), (-5.75,2.9,6.55,3.9), (5.55,3.9,6.55,3.93), (8.15,3.9,9.15,5.6), (25.25,3.9,26.25,5.7), (36.75,3.9,40.75,3.93), (23.75,4.64,24.75,5.73), (9.7,4.67,10.7,5.73), (26.8,4.67,27.8,5.73), (-7.9,4.7,7.65,5.7), (6.65,4.7,7.65,5.7), (8.15,4.7,9.15,5.7), (9.7,4.7,10.7,5.7), (23.75,4.7,24.75,5.7), (25.25,4.7,26.25,5.7), (26.8,4.7,27.8,5.7), (6.89,5.7,7.39,8.23), (9.94,5.7,10.45,8.065), (23.99,5.7,24.49,8.23), (27.04,5.7,27.55,8.065), (9.94,8.065,10.44,8.23), (27.04,8.065,27.54,8.23), (3.64,8.605,4.665,8.635), (12.74,8.605,13.765,8.635), (21.8,8.62,22.8,8.65), (3.64,8.635,5.86,9.66), (11.94,8.635,13.765,8.65), (5.1,8.65,6.1,8.87), (11.25,8.65,13.765,9.65), (11.25,8.65,12.25,8.9), (21.8,8.65,23.2,9.65), (22.2,8.65,23.2,8.87), (28.35,8.65,33.74,9.65), (28.35,8.65,29.35,8.9), (5.1,8.87,6.35,9.43), (22.2,8.87,23.45,9.43), (6.89,8.9,12.25,9.4), (23.99,8.9,29.35,9.4), (6.89,9.4,7.39,9.9), (11.25,9.4,12.25,9.65), (23.99,9.4,24.49,9.9), (28.35,9.4,29.35,9.65), (5.1,9.43,6.1,9.65), (22.2,9.43,23.2,9.65), (11.94,9.65,13.765,9.66), (21.8,9.65,22.8,9.68), (3.64,9.66,4.665,9.69), (12.74,9.66,13.765,9.69), (9.94,9.87,10.44,9.9), (27.04,9.87,27.54,9.9), (6.89,9.9,7.4,10.4), (9.91,9.9,10.47,10.4), (23.99,9.9,24.5,10.4), (27.01,9.9,27.57,10.4), (6.89,10.4,7.39,12.28), (9.94,10.4,10.44,12.28), (23.99,10.4,24.49,12.28), (27.04,10.4,27.54,12.28), (8.15,12.5,9.15,13.5), (8.15,12.5,9.15,13.65), (25.25,12.5,26.25,13.5), (25.25,12.5,26.25,13.65), (-1.35,13.62,-0.35,13.65), (16.3,13.62,20.3,13.65), (-7.95,13.65,29.25,13.675), (-7.97,13.675,29.25,17.625), (-7.95,17.625,29.25,17.65), (16.3,17.65,20.3,17.68)])
R(power_gating_ad, hvi, [(4.745,-37.855,8.985,-33.615), (14.045,-37.605,22.365,-31.015), (25.045,-37.605,33.365,-31.015), (9.97,-36.825,12.15,-34.645), (2.45,-16.35,33.31,-16.3), (2.45,-16.3,4.05,-9.33), (4.05,-16.3,12.66,-9.33), (12.66,-16.3,13.85,-9.33), (13.85,-16.3,22.46,-9.33), (22.46,-16.3,24.7,-9.33), (24.7,-16.3,33.31,-9.33), (2.45,-9.33,33.31,-9.3), (2.45,-9.3,33.3,-2.35), (2.45,-2.35,5.5,5.245), (2.45,5.245,5.745,9.1), (5.745,5.245,8.535,8.835), (8.535,5.245,8.795,8.835), (8.795,5.245,11.585,8.835), (22.845,5.245,25.635,8.835), (25.635,5.245,25.895,8.835), (25.895,5.245,28.685,8.835), (5.745,8.835,11.585,9.1), (22.845,8.835,28.685,9.1), (2.45,9.1,5.6,13.07), (5.6,9.1,8.68,13.07), (8.65,9.1,11.73,13.07), (11.73,9.1,22.7,13.07), (22.7,9.1,25.78,13.07), (25.75,9.1,28.83,13.07), (28.83,9.1,28.85,13.07), (2.45,13.07,28.85,13.1)])
R(power_gating_ad, diode_id, [(6.64,-35.96,7.09,-35.51), (10.835,-35.96,11.285,-35.51)])
R(power_gating_ad, nsdm, [(5.855,-36.745,7.875,-36.205), (14.775,-36.435,21.635,-32.185), (25.775,-36.435,32.635,-32.185), (5.855,-36.205,6.395,-35.265), (7.335,-36.205,7.875,-35.265), (10.71,-36.085,11.41,-35.385), (5.855,-35.265,7.875,-34.725), (4.255,-16.095,12.455,-15.555), (14.055,-16.095,22.255,-15.555), (24.905,-16.095,33.105,-15.555), (4.255,-15.555,4.795,-10.075), (11.915,-15.555,12.455,-10.075), (14.055,-15.555,14.595,-10.075), (21.715,-15.555,22.255,-10.075), (24.905,-15.555,25.445,-10.075), (32.565,-15.555,33.105,-10.075), (4.255,-10.075,12.455,-9.535), (14.055,-10.075,22.255,-9.535), (24.905,-10.075,33.105,-9.535), (6.475,6.415,7.805,7.665), (9.525,6.415,10.855,7.665), (23.575,6.415,24.905,7.665), (26.625,6.415,27.955,7.665), (5.805,9.305,8.475,9.845), (8.855,9.305,11.525,9.845), (22.905,9.305,25.575,9.845), (25.955,9.305,28.625,9.845), (5.805,9.845,6.345,12.325), (7.935,9.845,8.475,12.325), (8.855,9.845,9.395,12.325), (10.985,9.845,11.525,12.325), (22.905,9.845,23.445,12.325), (25.035,9.845,25.575,12.325), (25.955,9.845,26.495,12.325), (28.085,9.845,28.625,12.325), (5.805,12.325,8.475,12.865), (8.855,12.325,11.525,12.865), (22.905,12.325,25.575,12.865), (25.955,12.325,28.625,12.865)])
R(power_gating_ad, psdm, [(4.805,-37.795,8.925,-37.255), (14.105,-37.545,22.305,-37.005), (25.105,-37.545,33.305,-37.005), (4.805,-37.255,5.345,-34.215), (8.385,-37.255,8.925,-34.215), (14.105,-37.005,14.645,-31.615), (21.765,-37.005,22.305,-31.615), (25.105,-37.005,25.645,-31.615), (32.765,-37.005,33.305,-31.615), (10.03,-36.765,12.09,-36.225), (10.03,-36.225,10.57,-35.245), (11.55,-36.225,12.09,-35.245), (6.515,-36.085,7.215,-35.385), (10.03,-35.245,12.09,-34.705), (4.805,-34.215,8.925,-33.675), (14.105,-31.615,22.305,-31.075), (25.105,-31.615,33.305,-31.075), (4.925,-14.94,11.785,-10.69), (14.725,-14.94,21.585,-10.69), (25.575,-14.94,32.435,-10.69), (5.805,5.305,8.475,5.845), (8.855,5.305,11.525,5.845), (22.905,5.305,25.575,5.845), (25.955,5.305,28.625,5.845), (5.805,5.845,6.345,8.235), (7.935,5.845,8.475,8.235), (8.855,5.845,9.395,8.235), (10.985,5.845,11.525,8.235), (22.905,5.845,23.445,8.235), (25.035,5.845,25.575,8.235), (25.955,5.845,26.495,8.235), (28.085,5.845,28.625,8.235), (5.805,8.235,8.475,8.775), (8.855,8.235,11.525,8.775), (22.905,8.235,25.575,8.775), (25.955,8.235,28.625,8.775), (6.475,10.46,7.805,11.71), (9.525,10.46,10.855,11.71), (23.575,10.46,24.905,11.71), (26.625,10.46,27.955,11.71)])
A(power_gating_ad, npc, 15.255, -36.77, 0.37, 0.37, 8, 2, 0.79, 4.55)
A(power_gating_ad, npc, 26.255, -36.77, 0.37, 0.37, 8, 2, 0.79, 4.55)
A(power_gating_ad, npc, 5.405, -15.32, 0.37, 0.37, 8, 2, 0.79, 4.64)
A(power_gating_ad, npc, 15.205, -15.32, 0.37, 0.37, 8, 2, 0.79, 4.64)
A(power_gating_ad, npc, 26.055, -15.32, 0.37, 0.37, 8, 2, 0.79, 4.64)
R(power_gating_ad, npc, [(6.955,6.08,7.325,6.45), (10.005,6.08,10.375,6.45), (24.055,6.08,24.425,6.45), (27.105,6.08,27.475,6.45), (6.955,7.63,7.325,8), (10.005,7.63,10.375,8), (24.055,7.63,24.425,8), (27.105,7.63,27.475,8), (6.955,10.08,7.325,10.45), (10.005,10.08,10.375,10.45), (24.055,10.08,24.425,10.45), (27.105,10.08,27.475,10.45), (6.955,11.72,7.325,12.09), (10.005,11.72,10.375,12.09), (24.055,11.72,24.425,12.09), (27.105,11.72,27.475,12.09)])
R(power_gating_ad, hvntm, [(14.715,-36.495,21.695,-32.125), (25.715,-36.495,32.695,-32.125), (10.65,-36.145,11.47,-35.325), (6.415,6.355,7.865,7.725), (9.465,6.355,10.915,7.725), (23.515,6.355,24.965,7.725), (26.565,6.355,28.015,7.725)])
power_gating_ad.add(gdstk.Label('SG_AVDD', (42.75,-14), layer=69, texttype=5))
power_gating_ad.add(gdstk.Label('EG_AVSS', (42.75,-26.7), layer=69, texttype=5))
power_gating_ad.add(gdstk.Label('EG_AVDD', (42.75,-20.3), layer=69, texttype=5))
power_gating_ad.add(gdstk.Label('AVSS', (-1.95,-39.3), layer=69, texttype=5))
power_gating_ad.add(gdstk.Label('AVSS', (8.65,5.2), layer=69, texttype=5))
power_gating_ad.add(gdstk.Label('AVSS', (25.75,5.2), layer=69, texttype=5))
power_gating_ad.add(gdstk.Label('HI', (11.75,9.15), layer=69, texttype=5))
power_gating_ad.add(gdstk.Label('HI', (28.85,9.15), layer=69, texttype=5))
power_gating_ad.add(gdstk.Label('SG_AVSS', (42.75,-33.15), layer=69, texttype=5))
power_gating_ad.add(gdstk.Label('HI_B', (5.6,9.15), layer=69, texttype=5))
power_gating_ad.add(gdstk.Label('HI_B', (22.7,9.15), layer=69, texttype=5))
power_gating_ad.add(gdstk.Label('LO', (7.15,5.2), layer=69, texttype=5))
power_gating_ad.add(gdstk.Label('LO', (24.25,5.2), layer=69, texttype=5))
power_gating_ad.add(gdstk.Label('LO_B', (10.2,5.2), layer=69, texttype=5))
power_gating_ad.add(gdstk.Label('LO_B', (27.3,5.2), layer=69, texttype=5))
power_gating_ad.add(gdstk.Label('AVDD', (8.65,13), layer=69, texttype=5))
power_gating_ad.add(gdstk.Label('AVDD', (25.75,13), layer=69, texttype=5))
power_gating_ad.add(gdstk.Label('AVDD', (-5.95,15.65), layer=69, texttype=5))
power_gating_ad.add(gdstk.Label('AVDD', (27.25,15.65), layer=69, texttype=5))
power_gating_ad.add(gdstk.Label('STDBY_B', (-1.05,-42.8), layer=68, texttype=5))
power_gating_ad.add(gdstk.Label('ENA_B', (-5.25,-42.8), layer=68, texttype=5))
power_gating_ad.add(gdstk.Label('EG_IBIAS', (0.95,-42.8), layer=68, texttype=5))
power_gating_ad.add(gdstk.Label('XIN', (3.05,-42.75), layer=68, texttype=5))
power_gating_ad.add(gdstk.Label('STDBY', (-3.15,-42.8), layer=68, texttype=5))
power_gating_ad.add(gdstk.Label('IBIAS', (15,19.15), layer=68, texttype=5))
power_gating_ad.add(gdstk.Label('ENA', (-7.4,-42.8), layer=68, texttype=5))
power_gating_ad.add(gdstk.Label('AVSS', (38.75,15.65), layer=68, texttype=5))

lib.write_gds('power_gating_ad.gds')
